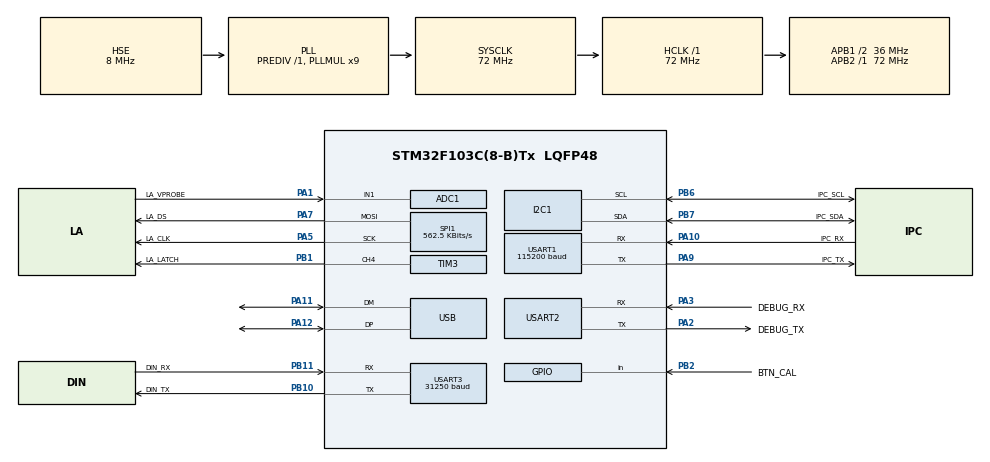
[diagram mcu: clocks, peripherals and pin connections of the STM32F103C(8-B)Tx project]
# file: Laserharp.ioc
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ADC1.Channel-6\#ChannelRegularConversion=ADC_CHANNEL_1
ADC1.NbrOfConversionFlag=1
ADC1.Rank-6\#ChannelRegularConversion=1
ADC1.SamplingTime-6\#ChannelRegularConversion=ADC_SAMPLETIME_1CYCLE_5
ADC1.master=1
Dma.Request0=TIM3_CH4/UP
Dma.TIM3_CH4/UP.0.Direction=DMA_MEMORY_TO_PERIPH
Dma.TIM3_CH4/UP.0.Instance=DMA1_Channel3
Dma.TIM3_CH4/UP.0.MemDataAlignment=DMA_MDATAALIGN_HALFWORD
Dma.TIM3_CH4/UP.0.MemInc=DMA_MINC_ENABLE
Dma.TIM3_CH4/UP.0.Mode=DMA_CIRCULAR
Dma.TIM3_CH4/UP.0.PeriphDataAlignment=DMA_PDATAALIGN_HALFWORD
Dma.TIM3_CH4/UP.0.PeriphInc=DMA_PINC_DISABLE
Dma.TIM3_CH4/UP.0.Priority=DMA_PRIORITY_HIGH
FREERTOS.BinarySemaphores01=printfSemaphore,Dynamic,NULL
FREERTOS.Events01=globalStatus,Dynamic,NULL
FREERTOS.Queues01=usbRxData,32,midi_packet_t,0,Dynamic,NULL,NULL;ipcRxData,32,ipc_packet_t,0,Dynamic,NULL,NULL
FREERTOS.Tasks01=defaultTask,8,256,StartDefaultTask,Default,NULL,Dynamic,NULL,NULL;usbReceiveTask,8,128,StartUsbReceiveTask,Default,NULL,Dynamic,NULL,NULL;ipcReceiveTask,8,128,StartIpcReceiveTask,Default,NULL,Dynamic,NULL,NULL
FREERTOS.configTICK_RATE_HZ=1000
FREERTOS.configTOTAL_HEAP_SIZE=8192
FREERTOS.configUSE_PREEMPTION=1
Mcu.Family=STM32F1
Mcu.Name=STM32F103C(8-B)Tx
Mcu.Package=LQFP48
Mcu.UserConstants=HUART_DEBUG,huart2;HUART_DIN,huart3;LA_TRANSFER_PRESCALAR,128;HUART_IPC,huart1;LA_FADE_TICK_RATE,30
NVIC.DMA1_Channel3_IRQn=true\:5\:0\:false\:false\:true\:true\:false\:true\:true
NVIC.PriorityGroup=NVIC_PRIORITYGROUP_4
NVIC.TIM1_UP_IRQn=true\:15\:0\:false\:false\:true\:false\:false\:true\:true
NVIC.TIM2_IRQn=true\:5\:0\:false\:false\:true\:true\:true\:true\:true
NVIC.TimeBase=TIM1_UP_IRQn
NVIC.TimeBaseIP=TIM1
NVIC.USART1_IRQn=true\:5\:0\:false\:false\:true\:true\:true\:true\:true
NVIC.USART2_IRQn=true\:5\:0\:false\:false\:true\:true\:true\:true\:true
NVIC.USART3_IRQn=true\:5\:0\:false\:false\:true\:true\:true\:true\:true
NVIC.USB_LP_CAN1_RX0_IRQn=true\:5\:0\:false\:false\:true\:true\:false\:true\:true
PA1.GPIO_Label=LA_VPROBE
PA1.Signal=ADCx_IN1
PA10.GPIO_Label=IPC_RX
PA10.Mode=Asynchronous
PA10.Signal=USART1_RX
PA11.Mode=Device
PA11.Signal=USB_DM
PA12.Mode=Device
PA12.Signal=USB_DP
PA13.Mode=Serial_Wire
PA13.Signal=SYS_JTMS-SWDIO
PA14.Mode=Serial_Wire
PA14.Signal=SYS_JTCK-SWCLK
PA2.GPIO_Label=DEBUG_TX
PA2.Mode=Asynchronous
PA2.Signal=USART2_TX
PA3.GPIO_Label=DEBUG_RX
PA3.Mode=Asynchronous
PA3.Signal=USART2_RX
PA5.GPIO_Label=LA_CLK
PA5.Mode=TX_Only_Simplex_Unidirect_Master
PA5.Signal=SPI1_SCK
PA7.GPIO_Label=LA_DS
PA7.Mode=TX_Only_Simplex_Unidirect_Master
PA7.Signal=SPI1_MOSI
PA9.GPIO_Label=IPC_TX
PA9.Mode=Asynchronous
PA9.Signal=USART1_TX
PB1.GPIO_Label=LA_LATCH
PB1.Signal=S_TIM3_CH4
PB10.GPIO_Label=DIN_TX
PB10.Mode=Asynchronous
PB10.Signal=USART3_TX
PB11.GPIO_Label=DIN_RX
PB11.Mode=Asynchronous
PB11.Signal=USART3_RX
PB2.GPIO_Label=BTN_CAL
PB2.Signal=GPIO_Input
PB6.GPIO_Label=IPC_SCL
PB6.Mode=I2C
PB6.Signal=I2C1_SCL
PB7.GPIO_Label=IPC_SDA
PB7.Mode=I2C
PB7.Signal=I2C1_SDA
PD0-OSC_IN.Mode=HSE-External-Oscillator
PD0-OSC_IN.Signal=RCC_OSC_IN
PD1-OSC_OUT.Mode=HSE-External-Oscillator
PD1-OSC_OUT.Signal=RCC_OSC_OUT
ProjectManager.HeapSize=0x400
ProjectManager.StackSize=0x800
ProjectManager.TargetToolchain=Makefile
RCC.ADCPresc=RCC_ADCPCLK2_DIV6
RCC.AHBFreq_Value=72000000
RCC.APB1CLKDivider=RCC_HCLK_DIV2
RCC.APB1Freq_Value=36000000
RCC.APB1TimFreq_Value=72000000
RCC.APB2Freq_Value=72000000
RCC.APB2TimFreq_Value=72000000
RCC.HCLKFreq_Value=72000000
RCC.PLLMUL=RCC_PLL_MUL9
RCC.PLLSourceVirtual=RCC_PLLSOURCE_HSE
RCC.SYSCLKFreq_VALUE=72000000
RCC.SYSCLKSource=RCC_SYSCLKSOURCE_PLLCLK
RCC.USBFreq_Value=48000000
RCC.USBPrescaler=RCC_USBCLKSOURCE_PLL_DIV1_5
SH.ADCx_IN1.0=ADC1_IN1,IN1
SH.S_TIM3_CH4.0=TIM3_CH4,Output Compare4 CH4
SPI1.BaudRatePrescaler=SPI_BAUDRATEPRESCALER_128
SPI1.CalculateBaudRate=562.5 KBits/s
SPI1.DataSize=SPI_DATASIZE_16BIT
SPI1.Direction=SPI_DIRECTION_2LINES
SPI1.FirstBit=SPI_FIRSTBIT_MSB
SPI1.Mode=SPI_MODE_MASTER
SPI1.VirtualType=VM_MASTER
TIM2.Period=(10000 / LA_FADE_TICK_RATE) - 1
TIM2.Prescaler=7200 - 1
TIM3.Channel-Output\ Compare4\ CH4=TIM_CHANNEL_4
TIM3.OCMode_4=TIM_OCMODE_TOGGLE
TIM3.OCPolarity_4=TIM_OCPOLARITY_LOW
TIM3.Period=18 - 1
TIM3.Prescaler=LA_TRANSFER_PRESCALAR - 1
TIM3.TIM_MasterOutputTrigger=TIM_TRGO_UPDATE
USART1.BaudRate=115200
USART1.VirtualMode=VM_ASYNC
USART2.VirtualMode=VM_ASYNC
USART3.BaudRate=31250
USART3.VirtualMode=VM_ASYNC
USB_DEVICE.CLASS_NAME_FS=HID
USB_DEVICE.CONFIGURATION_STRING_HID_FS=MIDI Config
USB_DEVICE.INTERFACE_STRING_HID_FS=MIDI Interface
USB_DEVICE.LANGID_STRING=1033
USB_DEVICE.MANUFACTURER_STRING=Amon Benson
USB_DEVICE.PID_HID_FS=0xC0B0
USB_DEVICE.PRODUCT_STRING_HID_FS=Laser Harp
USB_DEVICE.VID=0x1209
USB_DEVICE.VirtualMode=Hid
USB_DEVICE.VirtualModeFS=Hid_FS
VP_FREERTOS_VS_CMSIS_V2.Mode=CMSIS_V2
VP_SYS_VS_tim1.Mode=TIM1
VP_TIM2_VS_ClockSourceINT.Mode=Internal
VP_TIM3_VS_ClockSourceINT.Mode=Internal
VP_USB_DEVICE_VS_USB_DEVICE_HID_FS.Mode=HID_FS
board=custom

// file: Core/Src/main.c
/* USER CODE BEGIN Header */
/**
 ******************************************************************************
 * @file           : main.c
 * @brief          : Main program body
 ******************************************************************************
 * @attention
 *
 * Copyright (c) 2024 STMicroelectronics.
 * All rights reserved.
 *
 * This software is licensed under terms that can be found in the LICENSE file
 * in the root directory of this software component.
 * If no LICENSE file comes with this software, it is provided AS-IS.
 *
 ******************************************************************************
 */
/* USER CODE END Header */
#include "main.h"
#include "cmsis_os.h"
#include "usb_device.h"

/* USER CODE BEGIN Includes */
#include "drivers/ipc.h"
#include "drivers/laser_array.h"
#include "drivers/midi_usb.h"
#include "log.h"
#include "midi_types.h"
#include "usbd_midi.h"
/* USER CODE END Includes */

ADC_HandleTypeDef hadc1;

I2C_HandleTypeDef hi2c1;

SPI_HandleTypeDef hspi1;

TIM_HandleTypeDef htim2;
TIM_HandleTypeDef htim3;
DMA_HandleTypeDef hdma_tim3_ch4_up;

UART_HandleTypeDef huart1;
UART_HandleTypeDef huart2;
UART_HandleTypeDef huart3;

/* Definitions for defaultTask */
osThreadId_t defaultTaskHandle;
const osThreadAttr_t defaultTask_attributes = {
    .name = "defaultTask",
    .stack_size = 256 * 4,
    .priority = (osPriority_t) osPriorityLow,
};
/* Definitions for usbReceiveTask */
osThreadId_t usbReceiveTaskHandle;
const osThreadAttr_t usbReceiveTask_attributes = {
    .name = "usbReceiveTask",
    .stack_size = 128 * 4,
    .priority = (osPriority_t) osPriorityLow,
};
/* Definitions for ipcReceiveTask */
osThreadId_t ipcReceiveTaskHandle;
const osThreadAttr_t ipcReceiveTask_attributes = {
    .name = "ipcReceiveTask",
    .stack_size = 128 * 4,
    .priority = (osPriority_t) osPriorityLow,
};
/* Definitions for usbRxData */
osMessageQueueId_t usbRxDataHandle;
const osMessageQueueAttr_t usbRxData_attributes = { .name = "usbRxData" };
/* Definitions for ipcRxData */
osMessageQueueId_t ipcRxDataHandle;
const osMessageQueueAttr_t ipcRxData_attributes = { .name = "ipcRxData" };
/* Definitions for printfSemaphore */
osSemaphoreId_t printfSemaphoreHandle;
const osSemaphoreAttr_t printfSemaphore_attributes = { .name = "printfSemaphore" };
/* Definitions for globalStatus */
osEventFlagsId_t globalStatusHandle;
const osEventFlagsAttr_t globalStatus_attributes = { .name = "globalStatus" };
/* USER CODE BEGIN PV */
laser_array_t laser_array;
/* USER CODE END PV */

void SystemClock_Config(void);
static void MX_GPIO_Init(void);
static void MX_DMA_Init(void);
static void MX_USART1_UART_Init(void);
static void MX_USART2_UART_Init(void);
static void MX_USART3_UART_Init(void);
static void MX_SPI1_Init(void);
static void MX_TIM2_Init(void);
static void MX_TIM3_Init(void);
static void MX_I2C1_Init(void);
static void MX_ADC1_Init(void);
void StartDefaultTask(void *argument);
void StartUsbReceiveTask(void *argument);
void StartIpcReceiveTask(void *argument);

/* USER CODE BEGIN PFP */
int _write(int file, char *ptr, int len);
void USBD_MIDI_DataInHandler(uint8_t *usb_rx_buffer, uint8_t usb_rx_buffer_length);
/* USER CODE END PFP */

/* USER CODE BEGIN 0 */
int _write(int file, char *ptr, int len) {
    osSemaphoreAcquire(printfSemaphoreHandle, osWaitForever);
    HAL_UART_Transmit(&huart2, (uint8_t *) ptr, len, 0xFFFF);
    osSemaphoreRelease(printfSemaphoreHandle);

    return len;
}

void HAL_UARTEx_RxEventCallback(UART_HandleTypeDef *huart, uint16_t Size) {
    ipc_driver_HAL_UARTEx_RxEventCallback(huart, Size);
}
/* USER CODE END 0 */

int main(void) {

    /* MCU Configuration--------------------------------------------------------*/

    /* Reset of all peripherals, Initializes the Flash interface and the Systick. */
    HAL_Init();

    /* Configure the system clock */
    SystemClock_Config();

    /* Initialize all configured peripherals */
    MX_GPIO_Init();
    MX_DMA_Init();
    MX_USART1_UART_Init();
    MX_USART2_UART_Init();
    MX_USART3_UART_Init();
    MX_SPI1_Init();
    MX_TIM2_Init();
    MX_TIM3_Init();
    MX_I2C1_Init();
    MX_ADC1_Init();

    /* Init scheduler */
    osKernelInitialize();

    /* Create the semaphores(s) */
    /* creation of printfSemaphore */
    printfSemaphoreHandle = osSemaphoreNew(1, 0, &printfSemaphore_attributes);

    /* USER CODE BEGIN RTOS_SEMAPHORES */
    osSemaphoreRelease(printfSemaphoreHandle);
    /* USER CODE END RTOS_SEMAPHORES */

    /* Create the queue(s) */
    /* creation of usbRxData */
    usbRxDataHandle = osMessageQueueNew(32, sizeof(midi_packet_t), &usbRxData_attributes);

    /* creation of ipcRxData */
    ipcRxDataHandle = osMessageQueueNew(32, sizeof(ipc_packet_t), &ipcRxData_attributes);

    /* Create the thread(s) */
    /* creation of defaultTask */
    defaultTaskHandle = osThreadNew(StartDefaultTask, NULL, &defaultTask_attributes);

    /* creation of usbReceiveTask */
    usbReceiveTaskHandle = osThreadNew(StartUsbReceiveTask, NULL, &usbReceiveTask_attributes);

    /* creation of ipcReceiveTask */
    ipcReceiveTaskHandle = osThreadNew(StartIpcReceiveTask, NULL, &ipcReceiveTask_attributes);

    /* Create the event(s) */
    /* creation of globalStatus */
    globalStatusHandle = osEventFlagsNew(&globalStatus_attributes);

    /* USER CODE BEGIN RTOS_EVENTS */

    // initialize drivers
    midi_usb_driver_init(usbRxDataHandle);
    ipc_driver_init(&huart1, ipcRxDataHandle);

    const laser_array_config_t laser_array_config = {
        .hspi = &hspi1,
        .htim_transfer = &htim3,
        .htim_fade = &htim2,
        .rclk_channel = TIM_CHANNEL_4,
    };
    laser_array_init(&laser_array, &laser_array_config);
    /* USER CODE END RTOS_EVENTS */

    /* Start scheduler */
    osKernelStart();

    /* We should never get here as control is now taken by the scheduler */
    /* Infinite loop */
    while (1) {

    }
}

void SystemClock_Config(void) {
    RCC_OscInitTypeDef RCC_OscInitStruct = { 0 };
    RCC_ClkInitTypeDef RCC_ClkInitStruct = { 0 };
    RCC_PeriphCLKInitTypeDef PeriphClkInit = { 0 };

    /** Initializes the RCC Oscillators according to the specified parameters
     * in the RCC_OscInitTypeDef structure.
     */
    RCC_OscInitStruct.OscillatorType = RCC_OSCILLATORTYPE_HSE;
    RCC_OscInitStruct.HSEState = RCC_HSE_ON;
    RCC_OscInitStruct.HSEPredivValue = RCC_HSE_PREDIV_DIV1;
    RCC_OscInitStruct.HSIState = RCC_HSI_ON;
    RCC_OscInitStruct.PLL.PLLState = RCC_PLL_ON;
    RCC_OscInitStruct.PLL.PLLSource = RCC_PLLSOURCE_HSE;
    RCC_OscInitStruct.PLL.PLLMUL = RCC_PLL_MUL9;
    if (HAL_RCC_OscConfig(&RCC_OscInitStruct) != HAL_OK) {
        Error_Handler();
    }

    /** Initializes the CPU, AHB and APB buses clocks
     */
    RCC_ClkInitStruct.ClockType = RCC_CLOCKTYPE_HCLK | RCC_CLOCKTYPE_SYSCLK | RCC_CLOCKTYPE_PCLK1 | RCC_CLOCKTYPE_PCLK2;
    RCC_ClkInitStruct.SYSCLKSource = RCC_SYSCLKSOURCE_PLLCLK;
    RCC_ClkInitStruct.AHBCLKDivider = RCC_SYSCLK_DIV1;
    RCC_ClkInitStruct.APB1CLKDivider = RCC_HCLK_DIV2;
    RCC_ClkInitStruct.APB2CLKDivider = RCC_HCLK_DIV1;

    if (HAL_RCC_ClockConfig(&RCC_ClkInitStruct, FLASH_LATENCY_2) != HAL_OK) {
        Error_Handler();
    }
    PeriphClkInit.PeriphClockSelection = RCC_PERIPHCLK_ADC | RCC_PERIPHCLK_USB;
    PeriphClkInit.AdcClockSelection = RCC_ADCPCLK2_DIV6;
    PeriphClkInit.UsbClockSelection = RCC_USBCLKSOURCE_PLL_DIV1_5;
    if (HAL_RCCEx_PeriphCLKConfig(&PeriphClkInit) != HAL_OK) {
        Error_Handler();
    }
}

static void MX_ADC1_Init(void) {

    ADC_ChannelConfTypeDef sConfig = { 0 };

    /** Common config
     */
    hadc1.Instance = ADC1;
    hadc1.Init.ScanConvMode = ADC_SCAN_DISABLE;
    hadc1.Init.ContinuousConvMode = DISABLE;
    hadc1.Init.DiscontinuousConvMode = DISABLE;
    hadc1.Init.ExternalTrigConv = ADC_SOFTWARE_START;
    hadc1.Init.DataAlign = ADC_DATAALIGN_RIGHT;
    hadc1.Init.NbrOfConversion = 1;
    if (HAL_ADC_Init(&hadc1) != HAL_OK) {
        Error_Handler();
    }

    /** Configure Regular Channel
     */
    sConfig.Channel = ADC_CHANNEL_1;
    sConfig.Rank = ADC_REGULAR_RANK_1;
    sConfig.SamplingTime = ADC_SAMPLETIME_1CYCLE_5;
    if (HAL_ADC_ConfigChannel(&hadc1, &sConfig) != HAL_OK) {
        Error_Handler();
    }
}

static void MX_I2C1_Init(void) {

    hi2c1.Instance = I2C1;
    hi2c1.Init.ClockSpeed = 100000;
    hi2c1.Init.DutyCycle = I2C_DUTYCYCLE_2;
    hi2c1.Init.OwnAddress1 = 0;
    hi2c1.Init.AddressingMode = I2C_ADDRESSINGMODE_7BIT;
    hi2c1.Init.DualAddressMode = I2C_DUALADDRESS_DISABLE;
    hi2c1.Init.OwnAddress2 = 0;
    hi2c1.Init.GeneralCallMode = I2C_GENERALCALL_DISABLE;
    hi2c1.Init.NoStretchMode = I2C_NOSTRETCH_DISABLE;
    if (HAL_I2C_Init(&hi2c1) != HAL_OK) {
        Error_Handler();
    }
}

static void MX_SPI1_Init(void) {

    /* SPI1 parameter configuration*/
    hspi1.Instance = SPI1;
    hspi1.Init.Mode = SPI_MODE_MASTER;
    hspi1.Init.Direction = SPI_DIRECTION_2LINES;
    hspi1.Init.DataSize = SPI_DATASIZE_16BIT;
    hspi1.Init.CLKPolarity = SPI_POLARITY_LOW;
    hspi1.Init.CLKPhase = SPI_PHASE_1EDGE;
    hspi1.Init.NSS = SPI_NSS_SOFT;
    hspi1.Init.BaudRatePrescaler = SPI_BAUDRATEPRESCALER_128;
    hspi1.Init.FirstBit = SPI_FIRSTBIT_MSB;
    hspi1.Init.TIMode = SPI_TIMODE_DISABLE;
    hspi1.Init.CRCCalculation = SPI_CRCCALCULATION_DISABLE;
    hspi1.Init.CRCPolynomial = 10;
    if (HAL_SPI_Init(&hspi1) != HAL_OK) {
        Error_Handler();
    }
}

static void MX_TIM2_Init(void) {

    TIM_ClockConfigTypeDef sClockSourceConfig = { 0 };
    TIM_MasterConfigTypeDef sMasterConfig = { 0 };

    htim2.Instance = TIM2;
    htim2.Init.Prescaler = 7200 - 1;
    htim2.Init.CounterMode = TIM_COUNTERMODE_UP;
    htim2.Init.Period = (10000 / LA_FADE_TICK_RATE) - 1;
    htim2.Init.ClockDivision = TIM_CLOCKDIVISION_DIV1;
    htim2.Init.AutoReloadPreload = TIM_AUTORELOAD_PRELOAD_DISABLE;
    if (HAL_TIM_Base_Init(&htim2) != HAL_OK) {
        Error_Handler();
    }
    sClockSourceConfig.ClockSource = TIM_CLOCKSOURCE_INTERNAL;
    if (HAL_TIM_ConfigClockSource(&htim2, &sClockSourceConfig) != HAL_OK) {
        Error_Handler();
    }
    sMasterConfig.MasterOutputTrigger = TIM_TRGO_RESET;
    sMasterConfig.MasterSlaveMode = TIM_MASTERSLAVEMODE_DISABLE;
    if (HAL_TIMEx_MasterConfigSynchronization(&htim2, &sMasterConfig) != HAL_OK) {
        Error_Handler();
    }
}

static void MX_TIM3_Init(void) {

    TIM_ClockConfigTypeDef sClockSourceConfig = { 0 };
    TIM_MasterConfigTypeDef sMasterConfig = { 0 };
    TIM_OC_InitTypeDef sConfigOC = { 0 };

    htim3.Instance = TIM3;
    htim3.Init.Prescaler = LA_TRANSFER_PRESCALAR - 1;
    htim3.Init.CounterMode = TIM_COUNTERMODE_UP;
    htim3.Init.Period = 18 - 1;
    htim3.Init.ClockDivision = TIM_CLOCKDIVISION_DIV1;
    htim3.Init.AutoReloadPreload = TIM_AUTORELOAD_PRELOAD_DISABLE;
    if (HAL_TIM_Base_Init(&htim3) != HAL_OK) {
        Error_Handler();
    }
    sClockSourceConfig.ClockSource = TIM_CLOCKSOURCE_INTERNAL;
    if (HAL_TIM_ConfigClockSource(&htim3, &sClockSourceConfig) != HAL_OK) {
        Error_Handler();
    }
    if (HAL_TIM_OC_Init(&htim3) != HAL_OK) {
        Error_Handler();
    }
    sMasterConfig.MasterOutputTrigger = TIM_TRGO_UPDATE;
    sMasterConfig.MasterSlaveMode = TIM_MASTERSLAVEMODE_DISABLE;
    if (HAL_TIMEx_MasterConfigSynchronization(&htim3, &sMasterConfig) != HAL_OK) {
        Error_Handler();
    }
    sConfigOC.OCMode = TIM_OCMODE_TOGGLE;
    sConfigOC.Pulse = 0;
    sConfigOC.OCPolarity = TIM_OCPOLARITY_LOW;
    sConfigOC.OCFastMode = TIM_OCFAST_DISABLE;
    if (HAL_TIM_OC_ConfigChannel(&htim3, &sConfigOC, TIM_CHANNEL_4) != HAL_OK) {
        Error_Handler();
    }
    HAL_TIM_MspPostInit(&htim3);
}

static void MX_USART1_UART_Init(void) {

    huart1.Instance = USART1;
    huart1.Init.BaudRate = 115200;
    huart1.Init.WordLength = UART_WORDLENGTH_8B;
    huart1.Init.StopBits = UART_STOPBITS_1;
    huart1.Init.Parity = UART_PARITY_NONE;
    huart1.Init.Mode = UART_MODE_TX_RX;
    huart1.Init.HwFlowCtl = UART_HWCONTROL_NONE;
    huart1.Init.OverSampling = UART_OVERSAMPLING_16;
    if (HAL_UART_Init(&huart1) != HAL_OK) {
        Error_Handler();
    }
}

static void MX_USART2_UART_Init(void) {

    huart2.Instance = USART2;
    huart2.Init.BaudRate = 115200;
    huart2.Init.WordLength = UART_WORDLENGTH_8B;
    huart2.Init.StopBits = UART_STOPBITS_1;
    huart2.Init.Parity = UART_PARITY_NONE;
    huart2.Init.Mode = UART_MODE_TX_RX;
    huart2.Init.HwFlowCtl = UART_HWCONTROL_NONE;
    huart2.Init.OverSampling = UART_OVERSAMPLING_16;
    if (HAL_UART_Init(&huart2) != HAL_OK) {
        Error_Handler();
    }
}

static void MX_USART3_UART_Init(void) {

    huart3.Instance = USART3;
    huart3.Init.BaudRate = 31250;
    huart3.Init.WordLength = UART_WORDLENGTH_8B;
    huart3.Init.StopBits = UART_STOPBITS_1;
    huart3.Init.Parity = UART_PARITY_NONE;
    huart3.Init.Mode = UART_MODE_TX_RX;
    huart3.Init.HwFlowCtl = UART_HWCONTROL_NONE;
    huart3.Init.OverSampling = UART_OVERSAMPLING_16;
    if (HAL_UART_Init(&huart3) != HAL_OK) {
        Error_Handler();
    }
}

static void MX_DMA_Init(void) {

    /* DMA controller clock enable */
    __HAL_RCC_DMA1_CLK_ENABLE();

    /* DMA interrupt init */
    /* DMA1_Channel3_IRQn interrupt configuration */
    HAL_NVIC_SetPriority(DMA1_Channel3_IRQn, 5, 0);
    HAL_NVIC_EnableIRQ(DMA1_Channel3_IRQn);
}

static void MX_GPIO_Init(void) {
    GPIO_InitTypeDef GPIO_InitStruct = { 0 };

    /* GPIO Ports Clock Enable */
    __HAL_RCC_GPIOD_CLK_ENABLE();
    __HAL_RCC_GPIOA_CLK_ENABLE();
    __HAL_RCC_GPIOB_CLK_ENABLE();

    /*Configure GPIO pin : BTN_CAL_Pin */
    GPIO_InitStruct.Pin = BTN_CAL_Pin;
    GPIO_InitStruct.Mode = GPIO_MODE_INPUT;
    GPIO_InitStruct.Pull = GPIO_NOPULL;
    HAL_GPIO_Init(BTN_CAL_GPIO_Port, &GPIO_InitStruct);

}

void StartDefaultTask(void *argument) {
    /* init code for USB_DEVICE */
    MX_USB_DEVICE_Init();
    /* USER CODE BEGIN 5 */

    printf("\n\n\n");
    LOG_INFO("Laserharp Firmware version %s", FIRMWARE_VERSION_STR);
    LOG_INFO("Created by Amon Benson");
    LOG_INFO("Compiled on %s at %s", __DATE__, __TIME__);

    // enable all lasers on startup
    for (uint8_t i = 0; i < LA_NUM_DIODES; i++) {
        laser_array_set_brightness(&laser_array, i, LA_NUM_BRIGHTNESS_LEVELS - 1);
    }

    for (;;) {
        osDelay(1);
    }
    /* USER CODE END 5 */
}

void StartUsbReceiveTask(void *argument) {
    /* USER CODE BEGIN StartUsbReceiveTask */
    midi_packet_t packet;

    for (;;) {
        // wait for a packet to be received
        if (osMessageQueueGet(usbRxDataHandle, &packet, NULL, osWaitForever) != osOK) {
            LOG_ERROR("USB MIDI: Failed to get packet from usbRxData");
            continue;
        }

        // print the received packet
        LOG_TRACE("USB MIDI: Received packet: " MIDI_PACKET_FMT, MIDI_PACKET_FMT_ARGS(&packet));

        // forward the midi packet to the Raspberry Pi
        ipc_packet_t ipc_packet = { 0 };
        ipc_packet[0] = packet.cn_cin & 0xf0; // force cable number to 0
        ipc_packet[1] = packet.status;
        ipc_packet[2] = packet.data1;
        ipc_packet[3] = packet.data2;
        ipc_driver_transmit(&ipc_packet);
    }
    /* USER CODE END StartUsbReceiveTask */
}

void StartIpcReceiveTask(void *argument) {
    /* USER CODE BEGIN StartIpcReceiveTask */
    ipc_packet_t packet;

    for (;;) {
        // wait for a packet to be received
        if (osMessageQueueGet(ipcRxDataHandle, &packet, NULL, osWaitForever) != osOK) {
            LOG_ERROR("IPC: Failed to get packet from ipcRxData");
            continue;
        }

        // print the received packet
        LOG_TRACE("IPC: Received packet: " IPC_PACKET_FMT, IPC_PACKET_FMT_ARGS(&packet));

        uint8_t major_code = packet[0] & 0xF0;
        uint8_t code = packet[0];
        switch (major_code) {
            case 0x00: // Usb Midi Out
                LOG_INFO("USB Midi Out not implemented");
                break;
            case 0x10: // Din Midi Out
                LOG_INFO("Din Midi Out not implemented");
                break;
            default: // Handle other IPC codes
                switch (code) {
                    case 0x80: // Set Brightness for Single Laser
                        laser_array_set_brightness(
                            &laser_array, packet[1], packet[2] * (LA_NUM_BRIGHTNESS_LEVELS - 1) / 127);
                        break;
                    case 0x81: // Set Brightness for All Lasers
                        for (uint8_t i = 0; i < LA_NUM_DIODES; i++) {
                            laser_array_set_brightness(
                                &laser_array, i, packet[1] * (LA_NUM_BRIGHTNESS_LEVELS - 1) / 127);
                        }
                        break;
                    case 0xf0: // Firmware Version Inquiry
                        LOG_INFO("Firmware Version Inquiry not implemented");
                        break;
                    case 0xf1: // Reboot
                        LOG_INFO("Rebooting...");
                        NVIC_SystemReset();
                        break;
                    default:
                        LOG_ERROR("Unknown IPC code: %02X", packet[0]);
                        break;
                }
        }
    }
    /* USER CODE END StartIpcReceiveTask */
}

void HAL_TIM_PeriodElapsedCallback(TIM_HandleTypeDef *htim) {
    if (htim->Instance == TIM1) {
        HAL_IncTick();
    }
    /* USER CODE BEGIN Callback 1 */
    if (htim->Instance == laser_array.config.htim_fade->Instance) {
        laser_array_fade_TIM_PeriodElapsedHandler(&laser_array);
    }
    /* USER CODE END Callback 1 */
}

void Error_Handler(void) {
    __disable_irq();
    while (1) { }
}
